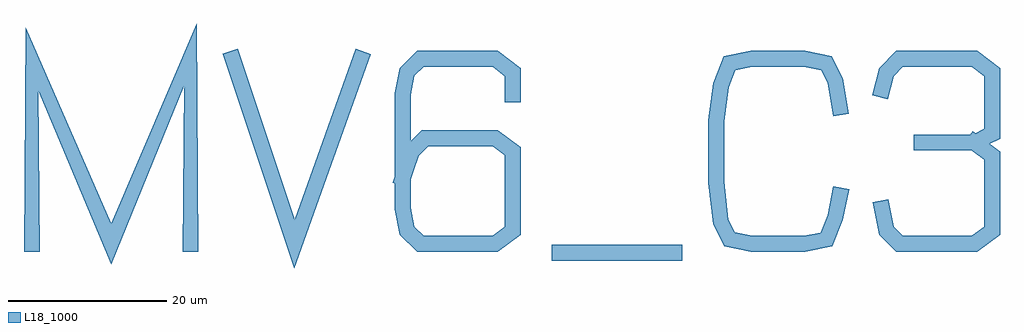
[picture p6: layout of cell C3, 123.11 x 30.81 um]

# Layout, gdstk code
import gdstk
lib = gdstk.Library(unit=1e-6, precision=1e-09)
L18_1000 = (18, 1000)

c_c3 = lib.new_cell('C3')
c_c3.add(gdstk.FlexPath([(-480.012,-306.995),(-480.012,-283.662),(-470.012,-306.995),(-460.012,-283.107),(-460.012,-306.995)], 2, ends="extended", simple_path=True, layer=18, datatype=1000))  # L18_1000
c_c3.add(gdstk.FlexPath([(-454.679,-283.662),(-446.902,-306.995),(-438.568,-283.662)], 2, ends="extended", simple_path=True, layer=18, datatype=1000))  # L18_1000
c_c3.add(gdstk.FlexPath([(-419.347,-288.107),(-419.347,-285.329),(-421.569,-283.662),(-431.013,-283.662),(-432.68,-285.329),(-433.235,-288.107),(-433.235,-302.551),(-432.68,-305.329),(-431.013,-306.995),(-421.569,-306.995),(-419.347,-305.329),(-419.347,-295.329),(-421.569,-293.662),(-430.458,-293.662),(-432.124,-295.329),(-433.235,-298.662)], 2, ends="extended", simple_path=True, layer=18, datatype=1000))  # L18_1000
c_c3.add(gdstk.FlexPath([(-413.458,-308.106),(-399.014,-308.106)], 2, ends="extended", simple_path=True, layer=18, datatype=1000))  # L18_1000
c_c3.add(gdstk.FlexPath([(-378.126,-289.773),(-378.681,-286.44),(-379.793,-284.218),(-382.57,-283.662),(-389.237,-283.662),(-392.015,-284.218),(-393.126,-286.995),(-393.681,-291.44),(-393.681,-299.218),(-393.126,-304.218),(-392.015,-306.44),(-389.237,-306.995),(-382.57,-306.995),(-379.793,-306.44),(-378.681,-303.662),(-378.126,-300.884)], 2, ends="extended", simple_path=True, layer=18, datatype=1000))  # L18_1000
c_c3.add(gdstk.FlexPath([(-372.793,-287.551),(-372.238,-285.329),(-370.571,-283.662),(-361.127,-283.662),(-358.905,-285.329),(-358.905,-293.107),(-361.127,-294.218),(-367.793,-294.218)], 2, ends="extended", simple_path=True, layer=18, datatype=1000))  # L18_1000
c_c3.add(gdstk.FlexPath([(-361.127,-294.218),(-358.905,-295.884),(-358.905,-305.329),(-361.127,-306.995),(-370.571,-306.995),(-372.238,-305.329),(-372.793,-302.551)], 2, ends="extended", simple_path=True, layer=18, datatype=1000))  # L18_1000

lib.write_gds('C3.gds')
